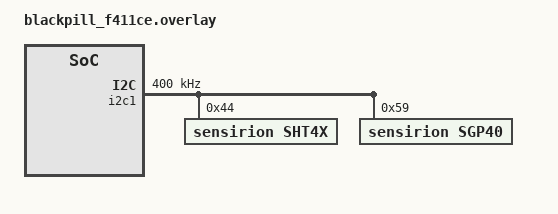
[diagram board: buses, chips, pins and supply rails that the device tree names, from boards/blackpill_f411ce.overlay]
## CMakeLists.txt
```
# SPDX-License-Identifier: Apache-2.0

cmake_minimum_required(VERSION 3.28.0)

find_package(Zephyr REQUIRED HINTS $ENV{ZEPHYR_BASE})
project(sgp40_sht4x)

FILE(GLOB app_sources src/*.c)
target_sources(app PRIVATE ${app_sources})
```

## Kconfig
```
#
# Copyright (c) 2021 Leonard Pollak
#
# SPDX-License-Identifier: Apache-2.0
#

mainmenu "SGP40/SHT4X sample application"

config APP_USE_COMPENSATION
	bool "Use the T/RH compensation feature of the SGP40"
	default y

config APP_USE_HEATER
	bool "Use the Heater on the SHT4X"
	help
	  Maximum duty cycle for using the heater is 5%

config APP_HEATER_HUMIDITY_THRESH
	int "RH [%] threshold above which the heater will be activated"
	range 0 99
	default 65
	depends on APP_USE_HEATER

config APP_HEATER_PULSE_POWER
	int "Heater Power Setting"
	range 0 2
	default 2
	depends on APP_USE_HEATER
	help
	  0 -> High power heater pulse -> ~200 mW  @3.3V
	  1 -> Medium power heater pulse -> ~110 mW  @3.3V
	  2 -> Low power heater pulse -> ~20 mW  @3.3V

config APP_HEATER_PULSE_DURATION
	int "Heater Pulse Length Setting"
	range 0 1
	default 1
	depends on APP_USE_HEATER
	help
	  0 -> Long heater pulse -> 1.1s
	  1 -> Short heater pulse -> 0.11s

source "Kconfig.zephyr"
```

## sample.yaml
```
#
# Copyright (c) 2021 Leonard Pollak
#
# SPDX-License-Identifier: Apache-2.0
#

sample:
  name: SGP40 and SHT4X Sensor Sample
tests:
  sample.sensor.sgp40_sht4x:
    build_only: true
    platform_allow:
      - blackpill_f411ce
    tags: sensors
```

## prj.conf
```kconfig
CONFIG_CBPRINTF_FP_SUPPORT=y
CONFIG_I2C=y
CONFIG_SENSOR=y
CONFIG_PM_DEVICE=y

CONFIG_LOG=y
CONFIG_SENSOR_LOG_LEVEL_DBG=y
```

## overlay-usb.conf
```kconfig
CONFIG_USB=y
CONFIG_USB_DEVICE_STACK=y
CONFIG_USB_DEVICE_PRODUCT="Zephyr USB console sample"
CONFIG_USB_UART_CONSOLE=y
CONFIG_UART_INTERRUPT_DRIVEN=y
CONFIG_UART_LINE_CTRL=y
CONFIG_UART_CONSOLE_ON_DEV_NAME="CDC_ACM_0"
CONFIG_SHELL_BACKEND_SERIAL_INIT_PRIORITY=51
```

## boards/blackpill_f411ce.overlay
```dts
/*
 * Copyright (c) 2021 Leonard Pollak
 *
 * SPDX-License-Identifier: Apache-2.0
 */

&i2c1 {
	clock-frequency = <I2C_BITRATE_FAST>;
	status = "okay";

	sht4x@44 {
		compatible = "sensirion,sht4x";
		reg = <0x44>;
		repeatability = <2>;
		status = "okay";
	};

	sgp40@59 {
		compatible = "sensirion,sgp40";
		reg = <0x59>;
		enable-selftest;
		status = "okay";
	};
};
```

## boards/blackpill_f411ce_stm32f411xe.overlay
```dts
/*
 * Copyright (c) 2021 Leonard Pollak
 *
 * SPDX-License-Identifier: Apache-2.0
 */

&i2c1 {
	status = "okay";
	clock-frequency = <I2C_BITRATE_FAST>;
	sht4x@44 {
		status = "okay";
		compatible = "sensirion,sht4x";
		reg = <0x44>;
		repeatability = <2>;
	};
	sgp40@59 {
		status = "okay";
		compatible = "sensirion,sgp40";
		reg = <0x59>;
		enable-selftest;
	};
};
```

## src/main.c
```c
/*
 * Copyright (c) 2021 Leonard Pollak
 *
 * SPDX-License-Identifier: Apache-2.0
 */

#include <zephyr/kernel.h>
#include <zephyr/device.h>
#include <zephyr/drivers/sensor.h>
#include <stdio.h>

#include <zephyr/drivers/sensor/sgp40.h>
#include <zephyr/drivers/sensor/sht4x.h>

#if !DT_HAS_COMPAT_STATUS_OKAY(sensirion_sgp40)
#error "No sensirion,sgp40 compatible node found in the device tree"
#endif

#if !DT_HAS_COMPAT_STATUS_OKAY(sensirion_sht4x)
#error "No sensirion,sht4x compatible node found in the device tree"
#endif

int main(void)
{

#if CONFIG_APP_USE_COMPENSATION
	struct sensor_value comp_t;
	struct sensor_value comp_rh;
#endif
	const struct device *const sht = DEVICE_DT_GET_ANY(sensirion_sht4x);
	const struct device *const sgp = DEVICE_DT_GET_ANY(sensirion_sgp40);
	struct sensor_value temp, hum, gas;

	if (!device_is_ready(sht)) {
		printf("Device %s is not ready.\n", sht->name);
		return 0;
	}

	if (!device_is_ready(sgp)) {
		printf("Device %s is not ready.\n", sgp->name);
		return 0;
	}

#if CONFIG_APP_USE_HEATER
	struct sensor_value heater_p;
	struct sensor_value heater_d;

	heater_p.val1 = CONFIG_APP_HEATER_PULSE_POWER;
	heater_d.val1 = CONFIG_APP_HEATER_PULSE_DURATION;
	sensor_attr_set(sht, SENSOR_CHAN_ALL,
			SENSOR_ATTR_SHT4X_HEATER_POWER, &heater_p);
	sensor_attr_set(sht, SENSOR_CHAN_ALL,
			SENSOR_ATTR_SHT4X_HEATER_DURATION, &heater_d);
#endif

	while (true) {

		if (sensor_sample_fetch(sht)) {
			printf("Failed to fetch sample from SHT4X device\n");
			return 0;
		}

		sensor_channel_get(sht, SENSOR_CHAN_AMBIENT_TEMP, &temp);
		sensor_channel_get(sht, SENSOR_CHAN_HUMIDITY, &hum);
#if CONFIG_APP_USE_HEATER
		/*
		 * Conditions in which it makes sense to activate the heater
		 * are application/environment specific.
		 *
		 * The heater should not be used above SHT4X_HEATER_MAX_TEMP (65 °C)
		 * as stated in the datasheet.
		 *
		 * The temperature data will not be updated here for obvious reasons.
		 **/
		if (hum.val1 > CONFIG_APP_HEATER_HUMIDITY_THRESH &&
				temp.val1 < SHT4X_HEATER_MAX_TEMP) {
			printf("Activating heater.\n");

			if (sht4x_fetch_with_heater(sht)) {
				printf("Failed to fetch sample from SHT4X device\n");
				return 0;
			}

			sensor_channel_get(sht, SENSOR_CHAN_HUMIDITY, &hum);
		}
#endif

#if CONFIG_APP_USE_COMPENSATION
		comp_t.val1 = temp.val1; /* Temp [°C] */
		comp_rh.val1 = hum.val1; /* RH [%] */
		sensor_attr_set(sgp,
				SENSOR_CHAN_GAS_RES,
				SENSOR_ATTR_SGP40_TEMPERATURE,
				&comp_t);
		sensor_attr_set(sgp,
				SENSOR_CHAN_GAS_RES,
				SENSOR_ATTR_SGP40_HUMIDITY,
				&comp_rh);
#endif
		if (sensor_sample_fetch(sgp)) {
			printf("Failed to fetch sample from SGP40 device.\n");
			return 0;
		}

		sensor_channel_get(sgp, SENSOR_CHAN_GAS_RES, &gas);

		printf("SHT4X: %.2f Temp. [C] ; %0.2f RH [%%] -- SGP40: %d Gas [a.u.]\n",
		       sensor_value_to_double(&temp),
		       sensor_value_to_double(&hum),
		       gas.val1);

		/* Maximum duty cycle for using the heater is 5% */
#if CONFIG_APP_USE_HEATER && CONFIG_APP_HEATER_PULSE_DURATION == 0
		k_sleep(K_MSEC(20000));
#else
		k_sleep(K_MSEC(2000));
#endif
	}
}
```
